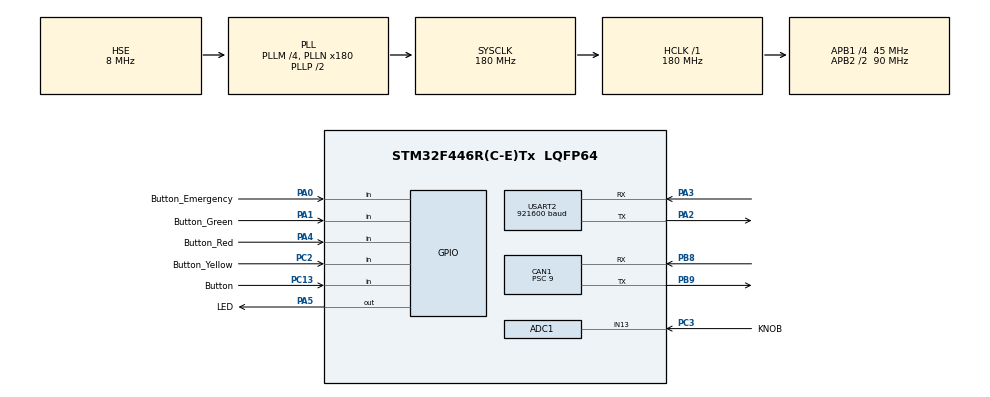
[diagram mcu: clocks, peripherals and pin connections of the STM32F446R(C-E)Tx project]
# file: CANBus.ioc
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ADC1.Channel-1\#ChannelRegularConversion=ADC_CHANNEL_13
ADC1.NbrOfConversionFlag=1
ADC1.Rank-1\#ChannelRegularConversion=1
ADC1.SamplingTime-1\#ChannelRegularConversion=ADC_SAMPLETIME_3CYCLES
ADC1.master=1
CAN1.BS1=CAN_BS1_2TQ
CAN1.BS2=CAN_BS2_2TQ
CAN1.CalculateTimeQuantum=200.0
CAN1.Prescaler=9
Dma.Request0=USART2_RX
Dma.Request1=USART2_TX
Dma.USART2_RX.0.Direction=DMA_PERIPH_TO_MEMORY
Dma.USART2_RX.0.FIFOMode=DMA_FIFOMODE_DISABLE
Dma.USART2_RX.0.Instance=DMA1_Stream5
Dma.USART2_RX.0.MemDataAlignment=DMA_MDATAALIGN_BYTE
Dma.USART2_RX.0.MemInc=DMA_MINC_ENABLE
Dma.USART2_RX.0.Mode=DMA_NORMAL
Dma.USART2_RX.0.PeriphDataAlignment=DMA_PDATAALIGN_BYTE
Dma.USART2_RX.0.PeriphInc=DMA_PINC_DISABLE
Dma.USART2_RX.0.Priority=DMA_PRIORITY_MEDIUM
Dma.USART2_TX.1.Direction=DMA_MEMORY_TO_PERIPH
Dma.USART2_TX.1.FIFOMode=DMA_FIFOMODE_DISABLE
Dma.USART2_TX.1.Instance=DMA1_Stream6
Dma.USART2_TX.1.MemDataAlignment=DMA_MDATAALIGN_BYTE
Dma.USART2_TX.1.MemInc=DMA_MINC_ENABLE
Dma.USART2_TX.1.Mode=DMA_NORMAL
Dma.USART2_TX.1.PeriphDataAlignment=DMA_PDATAALIGN_BYTE
Dma.USART2_TX.1.PeriphInc=DMA_PINC_DISABLE
Dma.USART2_TX.1.Priority=DMA_PRIORITY_MEDIUM
Mcu.Family=STM32F4
Mcu.Name=STM32F446R(C-E)Tx
Mcu.Package=LQFP64
NVIC.CAN1_RX0_IRQn=true\:3\:0\:true\:false\:true\:true\:true
NVIC.DMA1_Stream5_IRQn=true\:0\:0\:false\:false\:true\:false\:true
NVIC.DMA1_Stream6_IRQn=true\:0\:0\:false\:false\:true\:false\:true
NVIC.PriorityGroup=NVIC_PRIORITYGROUP_2
NVIC.TIM2_IRQn=true\:3\:0\:true\:false\:true\:true\:true
NVIC.USART2_IRQn=true\:3\:0\:true\:false\:true\:true\:true
PA0-WKUP.GPIO_Label=Button_Emergency
PA0-WKUP.GPIO_PuPd=GPIO_PULLUP
PA0-WKUP.Signal=GPIO_Input
PA1.GPIO_Label=Button_Green
PA1.GPIO_PuPd=GPIO_PULLUP
PA1.Signal=GPIO_Input
PA13.Mode=Serial_Wire
PA13.Signal=SYS_JTMS-SWDIO
PA14.Mode=Serial_Wire
PA14.Signal=SYS_JTCK-SWCLK
PA2.Mode=Asynchronous
PA2.Signal=USART2_TX
PA3.Mode=Asynchronous
PA3.Signal=USART2_RX
PA4.GPIO_Label=Button_Red
PA4.GPIO_PuPd=GPIO_PULLUP
PA4.Signal=GPIO_Input
PA5.GPIO_Label=LED
PA5.Signal=GPIO_Output
PB8.Mode=Master
PB8.Signal=CAN1_RX
PB9.Mode=Master
PB9.Signal=CAN1_TX
PC13.GPIO_Label=Button
PC13.Signal=GPIO_Input
PC14-OSC32_IN.Mode=LSE-External-Oscillator
PC14-OSC32_IN.Signal=RCC_OSC32_IN
PC15-OSC32_OUT.Mode=LSE-External-Oscillator
PC15-OSC32_OUT.Signal=RCC_OSC32_OUT
PC2.GPIO_Label=Button_Yellow
PC2.GPIO_PuPd=GPIO_PULLUP
PC2.Signal=GPIO_Input
PC3.GPIO_Label=KNOB
PC3.Signal=ADCx_IN13
PH0-OSC_IN.Mode=HSE-External-Oscillator
PH0-OSC_IN.Signal=RCC_OSC_IN
PH1-OSC_OUT.Mode=HSE-External-Oscillator
PH1-OSC_OUT.Signal=RCC_OSC_OUT
ProjectManager.HeapSize=0x200
ProjectManager.StackSize=0x400
ProjectManager.TargetToolchain=MDK-ARM V5.27
RCC.AHBFreq_Value=180000000
RCC.APB1CLKDivider=RCC_HCLK_DIV4
RCC.APB1Freq_Value=45000000
RCC.APB1TimFreq_Value=90000000
RCC.APB2CLKDivider=RCC_HCLK_DIV2
RCC.APB2Freq_Value=90000000
RCC.APB2TimFreq_Value=180000000
RCC.CortexFreq_Value=180000000
RCC.HCLKFreq_Value=180000000
RCC.HSE_VALUE=8000000
RCC.PLLM=4
RCC.PLLN=180
RCC.PLLSourceVirtual=RCC_PLLSOURCE_HSE
RCC.SYSCLKFreq_VALUE=180000000
RCC.SYSCLKSource=RCC_SYSCLKSOURCE_PLLCLK
RCC.USBFreq_Value=180000000
RCC.VCOOutputFreq_Value=360000000
SH.ADCx_IN13.0=ADC1_IN13,IN13
TIM2.Period=0xffff
TIM2.Prescaler=89
USART2.BaudRate=921600
USART2.VirtualMode=VM_ASYNC
VP_TIM2_VS_ClockSourceINT.Mode=Internal
board=custom

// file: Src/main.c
/* USER CODE BEGIN Header */
/**
 ******************************************************************************
 * @file           : main.c
 * @brief          : Main program body
 ******************************************************************************
 * @attention
 *
 * <h2><center>&copy; Copyright (c) 2022 STMicroelectronics.
 * All rights reserved.</center></h2>
 *
 * This software component is licensed by ST under BSD 3-Clause license,
 * the "License"; You may not use this file except in compliance with the
 * License. You may obtain a copy of the License at:
 *                        opensource.org/licenses/BSD-3-Clause
 *
 ******************************************************************************
 */
/* USER CODE END Header */

#include "main.h"
#include "adc.h"
#include "can.h"
#include "dma.h"
#include "tim.h"
#include "usart.h"
#include "gpio.h"

/* USER CODE BEGIN Includes */
#include "debug_printf.h"
#include "uart_protocol.h"
#include "canFestival.h"
#include "adc_control.h"
#include "master_node.h"
#include "master_node_aux.h"
#include "can_handle.h"
#include "multi_button.h"
#include "car_control.h"
#include "mylog.h"
#include "multi_timer.h"

/* USER CODE END Includes */

/* USER CODE BEGIN PV */
UNS8 node_id = 0x15;
UNS8 node_id_aux = 0x16;
uint16_t keyFlag;
struct Button button0;
struct Button button_emcy;
struct Button button_green;
struct Button button_red;
struct Button button_yellow;
uint16_t carState = CAR_STOP;
float carSpeeds;
float carPosition;
int speed_flag;
int position_flag;

uint16_t pre_value = 0;
uint16_t rem_frontorrear=0;

extern SBUS_CH_Struct SBUS_CH;

enum
{
	BUTTON0 = 0,
	BUTTON_EMERGENCY = 1,
	BUTTON_GREEN = 2,
	BUTTON_RED = 3,
	BUTTON_YELLOW = 4,
};

typedef struct CHxData
{
	uint16_t preValue;
	uint16_t curValue;
} CHxData_t;

CHxData_t ch1_data;
CHxData_t ch2_data;
CHxData_t ch3_data;
CHxData_t ch5_data;
CHxData_t ch7_data;
CHxData_t ch10_data;

uint16_t IsChanged (CHxData_t* chx_data,uint16_t value);

struct Timer buttonTimer;
void ButtonTimer_callback(void *arg)
{
    button_ticks();
	//DEBUG_PRINTF("timer callback\r\n");
}

struct Timer loopTriggerTimer1;
struct Timer loopTriggerTimer2;
struct Timer loopTriggerTimer3;

void LoopTrigger(void* arg)
{
	uint16_t numTimer = (uint16_t)arg;

	switch(numTimer)
	{
		case 1:
			DEBUG_PRINTF("time1\r\n");
			timer_init(&loopTriggerTimer2, LoopTrigger, 1000, 0, (void*)2); //1s loop
			timer_start(&loopTriggerTimer2);
			break;
		case 2:
			DEBUG_PRINTF("timer2\r\n");
			timer_init(&loopTriggerTimer3, LoopTrigger, 1000, 0, (void*)3); //1s loop
			timer_start(&loopTriggerTimer3);
			break;
		case 3:
			DEBUG_PRINTF("timer3\r\n");
			timer_init(&loopTriggerTimer1, LoopTrigger, 1000, 0, (void*)1); //1s loop
			timer_start(&loopTriggerTimer1);
			break;
		default:
			break;
	}
}

/* USER CODE END PV */

void SystemClock_Config(void);

/* USER CODE BEGIN 0 */
uint8_t read_button_GPIO(uint8_t button_id)
{
	switch (button_id)
	{
	case BUTTON0:
		return HAL_GPIO_ReadPin(Button_GPIO_Port, Button_Pin);
		break;
	case BUTTON_EMERGENCY:
		return HAL_GPIO_ReadPin(Button_Emergency_GPIO_Port, Button_Emergency_Pin);
		break;
	case BUTTON_GREEN:
		return HAL_GPIO_ReadPin(Button_Green_GPIO_Port, Button_Green_Pin);
		break;
	case BUTTON_RED:
		return HAL_GPIO_ReadPin(Button_Red_GPIO_Port, Button_Red_Pin);
		break;
	case BUTTON_YELLOW:
		return HAL_GPIO_ReadPin(Button_Yellow_GPIO_Port, Button_Yellow_Pin);
		break;
	default:
		return 0;
		break;
	}
}

void btn_press_up_Handler(void *btn)
{
	struct Button *button = btn;
	switch (button->button_id)
	{
	case BUTTON0:
		break;
	case BUTTON_EMERGENCY:
		Car_ErrAck();
		DEBUG_PRINTF("--->Error ACK<---\r\n");
		break;
	case BUTTON_GREEN:
		carState = CAR_STOP;
		Car_Forward(0);
		Car_Turn(0);
		DEBUG_PRINTF("--->Car stop<---\r\n");
		break;
	case BUTTON_RED:
		break;
	case BUTTON_YELLOW:
		carState = CAR_STOP;
		Car_Forward(0);
		Car_Turn(0);
		DEBUG_PRINTF("--->Car stop<---\r\n");
		break;
	default:
		break;
	}
	// DEBUG_PRINTF("--->key0 press down! <---\r\n");
}

void btn_press_down_Handler(void *btn)
{
	struct Button *button = btn;
	static uint16_t key0State = 0;
	static uint16_t keyRedState = 0;
	static uint16_t mode_SpinOrForward = 0;
	switch (button->button_id)
	{
	case BUTTON0:

		if (0 == key0State)
		{
			HAL_GPIO_WritePin(LED_GPIO_Port, LED_Pin, GPIO_PIN_SET);
			Car_Enable(1);
			DEBUG_PRINTF("--->Car enable<---\r\n");
		}
		else
		{
			HAL_GPIO_WritePin(LED_GPIO_Port, LED_Pin, GPIO_PIN_RESET);
			Car_Enable(0);
			DEBUG_PRINTF("--->Car disable<---\r\n");
		}
		key0State = ~key0State;
		break;
	case BUTTON_EMERGENCY:
		HAL_GPIO_WritePin(LED_GPIO_Port, LED_Pin, GPIO_PIN_RESET);
		Car_Enable(0);
		DEBUG_PRINTF("--->Emergency stop<---\r\n");
		break;
	case BUTTON_GREEN:
		carState = CAR_RUN;

		if (0 == mode_SpinOrForward)
		{
			Car_Forward(carSpeeds);
			DEBUG_PRINTF("--->Car forward<---\r\n");
		}
		else
		{
			Car_Turn(0.2);
			DEBUG_PRINTF("--->Car turn<---\r\n");
		}
		break;
	case BUTTON_RED:
		if (0 == keyRedState)
		{
			mode_SpinOrForward = 1;
			DEBUG_PRINTF("--->Spin mode<---\r\n");
		}
		else
		{
			mode_SpinOrForward = 0;
			DEBUG_PRINTF("--->Forward mode<---\r\n");
		}
		keyRedState = ~keyRedState;
		break;
	case BUTTON_YELLOW:
		carState = CAR_RUN;
		if (0 == mode_SpinOrForward)
		{
			Car_Forward(-1.0*carSpeeds);
			DEBUG_PRINTF("--->Car reverse<---\r\n");
		}
		else
		{
			Car_Turn(-0.2);
			DEBUG_PRINTF("--->Car reverse turn<---\r\n");
		}
		break;
	default:
		break;
	}
}

/* USER CODE END 0 */

int main(void)

{

	/* MCU Configuration--------------------------------------------------------*/

	/* Reset of all peripherals, Initializes the Flash interface and the Systick. */
	HAL_Init();

	/* Configure the system clock */
	SystemClock_Config();

	/* Initialize all configured peripherals */
	MX_GPIO_Init();
	MX_DMA_Init();
	MX_CAN1_Init();
	MX_USART2_UART_Init();

	uart_init(100000);              //初始化USART1
  stop_Init();

	MX_ADC1_Init();
	MX_TIM2_Init();
	/* USER CODE BEGIN 2 */
	CanFilterConfig();
	__HAL_UART_ENABLE_IT(&huart2, UART_IT_IDLE);
	HAL_TIM_Base_Start_IT(&htim2);
	UP_WaitNextFrame();
	InitNodes(&master_node_Data, node_id);
	// HAL_Delay(10);

	InitNodes(&master_node_aux_Data, node_id_aux);

	button_init(&button0, read_button_GPIO, 0, BUTTON0);
	button_init(&button_emcy, read_button_GPIO, 0, BUTTON_EMERGENCY);
	button_init(&button_green, read_button_GPIO, 0, BUTTON_GREEN);
	button_init(&button_red, read_button_GPIO, 0, BUTTON_RED);
	button_init(&button_yellow, read_button_GPIO, 0, BUTTON_YELLOW);

	button_attach(&button0, PRESS_DOWN, btn_press_down_Handler);
	button_attach(&button_emcy, PRESS_DOWN, btn_press_down_Handler);
	button_attach(&button_green, PRESS_DOWN, btn_press_down_Handler);
	button_attach(&button_red, PRESS_DOWN, btn_press_down_Handler);
	button_attach(&button_yellow, PRESS_DOWN, btn_press_down_Handler);

	button_attach(&button_green, PRESS_UP, btn_press_up_Handler);
	button_attach(&button_yellow, PRESS_UP, btn_press_up_Handler);
	button_attach(&button_emcy, PRESS_UP, btn_press_up_Handler);

	button_start(&button0);
	button_start(&button_emcy);
	button_start(&button_green);
	button_start(&button_red);
	button_start(&button_yellow);

	timer_init(&buttonTimer, ButtonTimer_callback, 5, 5, NULL); //1s loop
	timer_start(&buttonTimer);

	/* USER CODE END 2 */

	/* Infinite loop */
	/* USER CODE BEGIN WHILE */

	while (1)
	{
		if (IsChanged(&ch10_data,SBUS_CH.CH10))
		{
			if(SBUS_CH.CH10>1000)
			{
				brake();
			}
		}
		if (IsChanged(&ch5_data,SBUS_CH.CH5))
		{
			if(SBUS_CH.CH5>1000)
			{
				Car_Enable(1);
			}
	//		if (IsChanged(&ch5_data,SBUS_CH.CH5))
		//	{
					if(SBUS_CH.CH5<200)
				{
					Car_Enable(0);
					Car_ErrAck();//清除错误
				}
		//	}

		}

			if(SBUS_CH.CH7<1000)
			{
				rem_frontorrear=0;
				//前进
			}
			else
			{
				rem_frontorrear=1;
			  //后退
			  //Car_SetMode(1);//转弯
			}

//
//		if(IsChanged(&ch3_data,SBUS_CH.CH3))
//		{
			//DEBUG_PRINTF("ch3=%d\r\n",SBUS_CH.CH3);
//			if(rem_frontorrear==0)
//			{

//				Car_Forward(carSpeeds);

			float scale_flag=(SBUS_CH.CH1-172)/1639.0f;
			int radial_flag=SBUS_CH.CH1/10-17;
			float rem_Radial=radial_flag/102.5f;
			int circle_flag=SBUS_CH.CH2/10-98;
			float rem_Circle=circle_flag/102.5f*scale_flag;

			if(rem_frontorrear==0)
			{
				printf("debug");
				Car_SetSpeed(rem_Radial,rem_Circle);
			}
			else
			{
				Car_SetSpeed(-1.0*rem_Radial,rem_Circle);
			}

			//printf("Radial=%f  ",rem_Radial);
			//printf("Circle=%f\r\n",rem_Circle);
//			}

//		}

//if(IsChanged(&ch2_data,SBUS_CH.CH2)|IsChanged(&ch2_data,SBUS_CH.CH3))//转弯
//	if(IsChanged(&ch2_data,SBUS_CH.CH2))//位置模式
//		{
//				if(rem_spinorforword==1)
//				{
//					if(SBUS_CH.CH2>1800)
//					{
//
//						Car_SetPosition(carPosition);
//						printf("carPosition=%f\r\n",carPosition);
//					}

////					int radial_flag=SBUS_CH.CH3/10-99;
////					float rem_Radial=radial_flag/102.5f;
////					int circle_flag=SBUS_CH.CH2/10-98;
////					float rem_Circle=circle_flag/51.25f;
////					Car_SetSpeed(rem_Radial,rem_Circle);
////					printf("Radial=%f  ",rem_Radial);
////					printf("Circle=%f\r\n",rem_Circle);
//				}
//			}

//		if(SBUS_CH.CH3<1800&&SBUS_CH.CH3>180&&SBUS_CH.CH7<1000)
//		{
//			carState = CAR_STOP;
//		}
//	else
//		carState =CAR_RUN;

		HAL_Delay(100);

//	rem_flag=SBUS_CH.CH3/10-99;
//	carSpeeds =rem_flag/51.25f;
	//printf("car=%f\r\n",carSpeeds);

		//button_ticks();
//		if (carState == CAR_STOP)
//		{
//			position_flag=SBUS_CH.CH11/10-17;
//			carPosition =position_flag/16.4f;//位置范围0-10m
//
//			speed_flag=SBUS_CH.CH12/10-17;
//			carSpeeds =speed_flag/102.5f;//速度范围0-1.6m/s
//			printf("car=%f\r\n",carSpeeds);
//		}
//		carSpeeds =  AC_Handle();
		timer_loop();

		//	UP_PackTransmit();
		// UP_SendHandle();
		 //DEBUG_PRINTF("hello\r\n");
		/* USER CODE END WHILE */

	}
}

void SystemClock_Config(void)
{
	RCC_OscInitTypeDef RCC_OscInitStruct = {0};
	RCC_ClkInitTypeDef RCC_ClkInitStruct = {0};

	/** Configure the main internal regulator output voltage
	 */
	__HAL_RCC_PWR_CLK_ENABLE();
	__HAL_PWR_VOLTAGESCALING_CONFIG(PWR_REGULATOR_VOLTAGE_SCALE1);
	/** Initializes the CPU, AHB and APB busses clocks
	 */
	RCC_OscInitStruct.OscillatorType = RCC_OSCILLATORTYPE_HSE;
	RCC_OscInitStruct.HSEState = RCC_HSE_ON;
	RCC_OscInitStruct.PLL.PLLState = RCC_PLL_ON;
	RCC_OscInitStruct.PLL.PLLSource = RCC_PLLSOURCE_HSE;
	RCC_OscInitStruct.PLL.PLLM = 4;
	RCC_OscInitStruct.PLL.PLLN = 180;
	RCC_OscInitStruct.PLL.PLLP = RCC_PLLP_DIV2;
	RCC_OscInitStruct.PLL.PLLQ = 2;
	RCC_OscInitStruct.PLL.PLLR = 2;
	if (HAL_RCC_OscConfig(&RCC_OscInitStruct) != HAL_OK)
	{
		Error_Handler();
	}
	/** Activate the Over-Drive mode
	 */
	if (HAL_PWREx_EnableOverDrive() != HAL_OK)
	{
		Error_Handler();
	}
	/** Initializes the CPU, AHB and APB busses clocks
	 */
	RCC_ClkInitStruct.ClockType = RCC_CLOCKTYPE_HCLK | RCC_CLOCKTYPE_SYSCLK | RCC_CLOCKTYPE_PCLK1 | RCC_CLOCKTYPE_PCLK2;
	RCC_ClkInitStruct.SYSCLKSource = RCC_SYSCLKSOURCE_PLLCLK;
	RCC_ClkInitStruct.AHBCLKDivider = RCC_SYSCLK_DIV1;
	RCC_ClkInitStruct.APB1CLKDivider = RCC_HCLK_DIV4;
	RCC_ClkInitStruct.APB2CLKDivider = RCC_HCLK_DIV2;

	if (HAL_RCC_ClockConfig(&RCC_ClkInitStruct, FLASH_LATENCY_5) != HAL_OK)
	{
		Error_Handler();
	}
}

/* USER CODE BEGIN 4 */
uint16_t IsChanged (CHxData_t* chx_data,uint16_t value)
{
	chx_data->curValue = value;
	if((chx_data->curValue>>4)==(chx_data->preValue>>4))
		return 0;
	else
	{
		chx_data->preValue = chx_data->curValue;
		return 1;
	}

}

/* USER CODE END 4 */

void Error_Handler(void)
{
}

/************************ (C) COPYRIGHT STMicroelectronics *****END OF FILE****/
